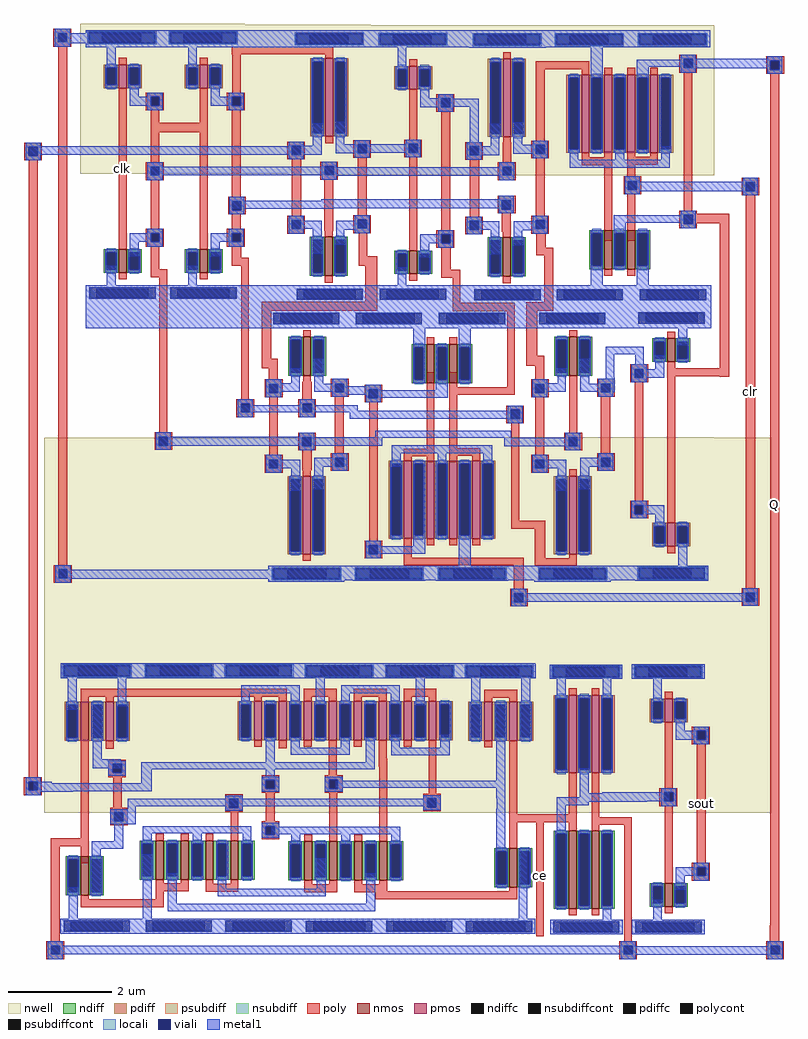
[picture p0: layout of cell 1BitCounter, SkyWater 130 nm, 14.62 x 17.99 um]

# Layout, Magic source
magic
tech sky130A
magscale 1 2
<< nwell >>
rect -36 -794 2763 649
<< poly >>
rect -94 -709 -61 1767
rect 1771 -830 1994 -800
rect 2098 -825 2226 -811
rect -10 -922 114 -892
rect -10 -1339 25 -922
rect 1857 -1269 1887 -830
rect 2073 -841 2226 -825
rect 2196 -1329 2226 -841
rect 2758 -1229 2793 2100
rect 2757 -1336 2793 -1229
<< metal1 >>
rect 2427 2071 2757 2106
rect -90 1738 951 1771
rect -90 1737 10 1738
rect -75 -680 -6 -675
rect -75 -713 75 -680
rect -75 -714 -6 -713
rect 2112 -718 2369 -716
rect 2026 -750 2369 -718
rect 2026 -752 2282 -750
rect -9 -1307 2228 -1305
rect -9 -1339 2793 -1307
rect 2193 -1341 2793 -1339
use dffc  dffc_0 ../dffc
transform 1 0 900 0 1 1174
box -900 -1174 1816 1067
use inverter  inverter_1 ../inverter
transform 1 0 1731 0 1 -1783
box 474 522 794 1585
use nand  nand_1 ../nand
transform 1 0 1889 0 1 -1261
box 0 0 320 1063
use via_m1_p  via_m1_p_0 ../via_m1_p
transform 1 0 -27 0 1 -1357
box 0 0 68 68
use via_m1_p  via_m1_p_1
transform 1 0 2742 0 1 -1357
box 0 0 68 68
use via_m1_p  via_m1_p_2
transform 1 0 2177 0 1 -1357
box 0 0 68 68
use via_m1_p  via_m1_p_3
transform 1 0 -112 0 1 1716
box 0 0 68 68
use via_m1_p  via_m1_p_4
transform 1 0 -113 0 1 -726
box 0 0 68 68
use via_m1_p  via_m1_p_5
transform 1 0 2332 0 1 -768
box 0 0 68 68
use via_m1_p  via_m1_p_13
transform -1 0 2811 0 -1 2117
box 0 0 68 68
use xor  xor_1 ../xor
transform -1 0 1559 0 1 -1272
box -323 13 1551 1078
<< labels >>
rlabel poly 1857 -1269 1887 -800 1 ce
rlabel space 2664 2 2700 1650 1 clr
rlabel space 252 1374 282 1994 1 clk
rlabel space 2758 -1336 2793 2117 1 Q
rlabel space 2474 -1056 2510 -462 1 sout
<< end >>

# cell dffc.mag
magic
tech sky130A
magscale 1 2
<< nwell >>
rect -174 490 112 1064
rect 612 484 754 1062
rect 232 -1100 1330 -524
rect 232 -1102 1126 -1100
<< poly >>
rect -882 -1068 -846 1028
rect -214 950 176 980
rect -212 752 -180 950
rect 956 892 1162 924
rect -526 650 -306 686
rect 828 510 862 612
rect 956 588 990 892
rect 142 272 176 504
rect -526 124 -492 246
rect -214 168 -178 264
rect 274 174 308 314
rect 826 268 860 362
rect -214 136 -148 168
rect 274 136 346 174
rect -526 92 -462 124
rect -492 -564 -462 92
rect -178 -428 -148 136
rect 300 -2 346 136
rect 592 122 628 256
rect 958 206 994 312
rect 1526 300 1700 336
rect 958 176 1024 206
rect 592 90 666 122
rect -98 -36 346 -2
rect 636 -6 666 90
rect 988 -4 1024 176
rect -98 -222 -62 -36
rect 636 -38 876 -6
rect -98 -258 -36 -222
rect -72 -352 -36 -258
rect 58 -426 94 -310
rect 846 -330 876 -38
rect 920 -36 1024 -4
rect 920 -210 962 -36
rect 920 -248 988 -210
rect 654 -332 876 -330
rect 624 -360 876 -332
rect 954 -352 988 -248
rect 1664 -258 1700 300
rect 1462 -288 1700 -258
rect 1664 -290 1700 -288
rect 58 -650 94 -526
rect 862 -844 892 -418
rect 1084 -558 1116 -310
rect 862 -876 992 -844
rect 448 -986 478 -909
rect 448 -1016 910 -986
rect 952 -988 992 -876
rect 952 -1016 1114 -988
rect 872 -1130 910 -1016
rect 956 -1018 1114 -1016
rect 1764 -1164 1800 460
<< metal1 >>
rect -776 1032 1628 1042
rect -884 992 1628 1032
rect -776 978 1628 992
rect 592 748 736 780
rect 272 572 502 604
rect 702 562 736 748
rect -526 516 146 518
rect -526 484 874 516
rect 146 482 874 484
rect 1310 424 1800 460
rect 130 386 872 392
rect -214 358 872 386
rect -214 356 178 358
rect -776 -104 1632 62
rect 1226 -204 1372 -176
rect 1226 -294 1258 -204
rect 1338 -294 1372 -204
rect 184 -344 348 -328
rect 184 -360 346 -344
rect 1226 -348 1260 -294
rect 1226 -350 1258 -348
rect -178 -428 48 -400
rect 60 -422 272 -400
rect 60 -426 894 -422
rect 60 -428 896 -426
rect 240 -452 896 -428
rect -494 -524 92 -522
rect 338 -524 862 -498
rect -494 -526 862 -524
rect -494 -556 366 -526
rect 834 -558 1118 -526
rect -74 -1034 1620 -1018
rect -880 -1068 1620 -1034
rect -74 -1074 1620 -1068
rect 872 -1156 1800 -1124
use inverter  inverter_0 ../inverter
transform 1 0 -152 0 1 -523
box 474 522 794 1585
use inverter  inverter_1 ../inverter
transform -1 0 2114 0 -1 485
box 474 522 794 1585
use inverter  inverter_2 ../inverter
transform 1 0 -958 0 1 -518
box 474 522 794 1585
use inverter  inverter_3 ../inverter
transform 1 0 -1270 0 1 -518
box 474 522 794 1585
use nor  nor_0 ../nor
transform 1 0 1002 0 1 -22
box 0 18 640 1083
use nor  nor_1 ../nor
transform -1 0 872 0 -1 -19
box 0 18 640 1083
use tg  tg_0 ../tg
transform 1 0 686 0 1 -2
box -2 0 320 1063
use tg  tg_1 ../tg
transform 1 0 2 0 1 0
box -2 0 320 1063
use tg  tg_2 ../tg
transform -1 0 1258 0 -1 -39
box -2 0 320 1063
use tg  tg_3 ../tg
transform -1 0 234 0 -1 -39
box -2 0 320 1063
use via_m1_p  via_m1_p_0 ../via_m1_p
transform -1 0 -442 0 -1 -504
box 0 0 68 68
use via_m1_p  via_m1_p_1 ../via_m1_p
transform -1 0 926 0 -1 -1106
box 0 0 68 68
use via_m1_p  via_m1_p_2 ../via_m1_p
transform 1 0 450 0 1 554
box 0 0 68 68
use via_m1_p  via_m1_p_3 ../via_m1_p
transform 1 0 810 0 1 466
box 0 0 68 68
use via_m1_p  via_m1_p_4 ../via_m1_p
transform -1 0 878 0 -1 406
box 0 0 68 68
use via_m1_p  via_m1_p_6 ../via_m1_p
transform 1 0 126 0 1 468
box 0 0 68 68
use via_m1_p  via_m1_p_7 ../via_m1_p
transform -1 0 -160 0 -1 402
box 0 0 68 68
use via_m1_p  via_m1_p_8 ../via_m1_p
transform 1 0 -196 0 1 -446
box 0 0 68 68
use via_m1_p  via_m1_p_9 ../via_m1_p
transform 1 0 842 0 1 -470
box 0 0 68 68
use via_m1_p  via_m1_p_10
transform -1 0 110 0 -1 -506
box 0 0 68 68
use via_m1_p  via_m1_p_11
transform -1 0 1134 0 -1 -506
box 0 0 68 68
use via_m1_p  via_m1_p_12
transform 1 0 42 0 1 -446
box 0 0 68 68
use via_m1_p  via_m1_p_13
transform -1 0 1816 0 -1 476
box 0 0 68 68
use via_m1_p  via_m1_p_14
transform -1 0 1816 0 -1 -1104
box 0 0 68 68
use via_m1_p  via_m1_p_15
transform -1 0 1362 0 -1 480
box 0 0 68 68
use via_m1_p  via_m1_p_16
transform 1 0 -900 0 1 980
box 0 0 68 68
use via_m1_p  via_m1_p_17
transform 1 0 -898 0 1 -1084
box 0 0 68 68
use via_m1_p  via_m1_p_18
transform 1 0 -544 0 1 466
box 0 0 68 68
<< labels >>
rlabel space 18 260 54 614 1 D
rlabel space -648 200 -618 820 1 clk
rlabel space 1764 -1172 1800 476 1 clr
rlabel space 1526 280 1558 948 1 Q
rlabel metal1 -776 978 1628 1042 1 vdd
rlabel metal1 -776 -104 1632 62 1 vss
<< end >>

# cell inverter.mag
magic
tech sky130A
magscale 1 2
<< poly >>
rect 622 728 652 1320
rect 744 746 778 1304
<< metal1 >>
rect 494 1504 776 1560
rect 576 1424 610 1504
rect 664 1304 698 1346
rect 664 1270 746 1304
rect 664 746 746 780
rect 664 692 698 746
rect 576 578 610 654
rect 494 522 776 578
use grid  grid_0 ../grid
transform 1 0 535 0 1 532
box -61 -10 259 1053
use sky130_fd_pr__nfet_01v8_SKHSUU  sky130_fd_pr__nfet_01v8_SKHSUU_0
transform 1 0 637 0 1 673
box -73 -71 73 71
use sky130_fd_pr__pfet_01v8_52DS5B  sky130_fd_pr__pfet_01v8_52DS5B_0
transform 1 0 637 0 1 1383
box -109 -107 109 107
use via_m1_p  via_m1_p_0 ../via_m1_p
transform 1 0 726 0 1 728
box 0 0 68 68
use via_m1_p  via_m1_p_2
transform 1 0 726 0 1 1252
box 0 0 68 68
<< labels >>
rlabel poly 622 728 652 1320 1 in
rlabel metal1 494 1504 776 1560 1 vdd
rlabel metal1 494 522 776 578 1 vss
rlabel space 744 728 778 1320 1 out
<< end >>

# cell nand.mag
magic
tech sky130A
magscale 1 2
<< poly >>
rect 94 422 124 604
rect 182 419 212 601
<< metal1 >>
rect 21 982 300 1037
rect 48 906 82 982
rect 224 915 258 982
rect 136 527 170 638
rect 48 496 170 527
rect 48 393 82 496
rect 224 55 258 106
rect 22 0 301 55
use grid  grid_0 ../grid
transform 1 0 61 0 1 10
box -61 -10 259 1053
use sky130_fd_pr__nfet_01v8_EAKVGK  sky130_fd_pr__nfet_01v8_EAKVGK_0
transform 1 0 109 0 1 248
box -73 -176 73 176
use sky130_fd_pr__nfet_01v8_EAKVGK  sky130_fd_pr__nfet_01v8_EAKVGK_1
transform 1 0 197 0 1 248
box -73 -176 73 176
use sky130_fd_pr__pfet_01v8_52K3FE  sky130_fd_pr__pfet_01v8_52K3FE_0
transform 1 0 109 0 1 770
box -109 -212 109 212
use sky130_fd_pr__pfet_01v8_52K3FE  sky130_fd_pr__pfet_01v8_52K3FE_1
transform 1 0 197 0 1 770
box -109 -212 109 212
<< labels >>
rlabel metal1 21 982 300 1037 1 vdd
rlabel metal1 136 496 170 638 1 Z
rlabel space 94 398 124 620 1 A
rlabel space 182 398 212 620 1 B
rlabel metal1 22 0 301 55 1 vss
<< end >>

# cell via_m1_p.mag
magic
tech sky130A
<< poly >>
rect 0 26 34 34
rect 0 9 9 26
rect 26 9 34 26
rect 0 0 34 9
<< polycont >>
rect 9 9 26 26
<< locali >>
rect 3 26 32 34
rect 3 9 9 26
rect 26 9 32 26
rect 3 0 32 9
<< viali >>
rect 9 9 26 26
<< metal1 >>
rect 3 26 32 34
rect 3 9 9 26
rect 26 9 32 26
rect 3 0 32 9
<< end >>

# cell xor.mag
magic
tech sky130A
magscale 1 2
<< poly >>
rect -225 921 -99 951
rect 85 925 211 955
rect 277 925 403 955
rect 469 925 595 955
rect 661 924 1453 955
rect -225 355 -195 756
rect 85 506 115 757
rect 277 685 307 757
rect 275 655 307 685
rect 275 368 305 655
rect 469 591 499 736
rect 1296 618 1330 666
rect 1295 614 1330 618
rect 467 560 496 588
rect 467 394 497 560
rect 707 404 741 605
rect 467 388 496 394
rect 847 371 877 521
rect 1295 459 1329 614
rect 1423 284 1453 905
rect 1135 206 1165 221
rect 275 176 401 203
rect -225 173 401 176
rect 467 173 593 203
rect 847 175 973 205
rect 1039 176 1165 206
rect -225 146 321 173
rect 1135 145 1165 176
rect 1135 115 1453 145
<< metal1 >>
rect -295 996 1531 1053
rect -275 768 -241 996
rect -179 602 -145 894
rect -83 768 -49 996
rect 131 891 165 996
rect 227 938 452 968
rect 227 895 261 938
rect 419 896 452 938
rect 515 894 549 996
rect 611 955 836 968
rect 611 938 837 955
rect 611 894 645 938
rect 803 893 837 938
rect 1278 888 1312 996
rect 34 728 70 778
rect 226 728 260 778
rect 34 700 260 728
rect 323 673 357 768
rect 419 729 453 769
rect 611 729 645 769
rect 419 701 645 729
rect 707 673 741 769
rect 1373 684 1408 893
rect 1469 874 1503 996
rect 323 645 1220 673
rect 1300 650 1408 684
rect 707 603 741 645
rect -179 600 464 602
rect -179 574 472 600
rect 1180 592 1220 645
rect -179 533 -145 574
rect 1180 560 1535 592
rect -179 493 -146 533
rect 68 503 1273 531
rect -265 70 -231 331
rect -179 329 -145 493
rect 1243 467 1273 503
rect 1290 467 1324 479
rect 1243 433 1334 467
rect 225 396 720 424
rect 797 399 1215 427
rect 225 356 259 396
rect 417 356 451 396
rect 609 356 643 396
rect 797 359 831 399
rect 989 359 1023 399
rect 1181 359 1215 399
rect 1290 369 1324 433
rect 1290 340 1411 369
rect 321 128 355 245
rect 512 185 546 303
rect 893 185 927 230
rect 512 157 927 185
rect 1085 128 1119 245
rect 321 99 1119 128
rect 1181 70 1215 318
rect 1377 173 1411 340
rect 1465 70 1499 192
rect -295 13 1531 70
use grid  grid_0 ../grid
transform 1 0 51 0 1 24
box -61 -10 259 1053
use grid  grid_1 ../grid
transform 1 0 360 0 1 24
box -61 -10 259 1053
use grid  grid_2 ../grid
transform 1 0 669 0 1 25
box -61 -10 259 1053
use grid  grid_3 ../grid
transform 1 0 976 0 1 25
box -61 -10 259 1053
use grid  grid_4 ../grid
transform 1 0 1292 0 1 25
box -61 -10 259 1053
use grid  grid_5 ../grid
transform 1 0 -256 0 1 23
box -61 -10 259 1053
use sky130_fd_pr__nfet_01v8_4AWVGD  sky130_fd_pr__nfet_01v8_4AWVGD_0
transform 1 0 434 0 1 293
box -221 -101 221 101
use sky130_fd_pr__nfet_01v8_4AWVGD  sky130_fd_pr__nfet_01v8_4AWVGD_1
transform 1 0 1006 0 1 296
box -221 -101 221 101
use sky130_fd_pr__nfet_01v8_NDWVGB  sky130_fd_pr__nfet_01v8_NDWVGB_0
transform 1 0 1438 0 1 236
box -73 -101 73 101
use sky130_fd_pr__nfet_01v8_NDWVGB  sky130_fd_pr__nfet_01v8_NDWVGB_1
transform 1 0 -210 0 1 266
box -73 -101 73 101
use sky130_fd_pr__pfet_01v8_52C9FB  sky130_fd_pr__pfet_01v8_52C9FB_0
transform 1 0 1390 0 1 830
box -161 -175 161 175
use sky130_fd_pr__pfet_01v8_52C9FB  sky130_fd_pr__pfet_01v8_52C9FB_1
transform 1 0 -162 0 1 831
box -161 -175 161 175
use sky130_fd_pr__pfet_01v8_52LH9B  sky130_fd_pr__pfet_01v8_52LH9B_0
transform 1 0 436 0 1 832
box -449 -175 449 175
use via_m1_p  via_m1_p_0 ../via_m1_p
transform 0 1 446 -1 0 623
box 0 0 68 68
use via_m1_p  via_m1_p_1 ../via_m1_p
transform 0 1 830 -1 0 550
box 0 0 68 68
use via_m1_p  via_m1_p_2 ../via_m1_p
transform 0 1 68 -1 0 552
box 0 0 68 68
use via_m1_p  via_m1_p_3 ../via_m1_p
transform 0 1 690 -1 0 445
box 0 0 68 68
use via_m1_p  via_m1_p_4 ../via_m1_p
transform 0 1 689 -1 0 623
box 0 0 68 68
use via_m1_p  via_m1_p_5 ../via_m1_p
transform 0 -1 1348 1 0 614
box 0 0 68 68
use via_m1_p  via_m1_p_6 ../via_m1_p
transform 0 1 1272 -1 0 497
box 0 0 68 68
<< labels >>
rlabel space -225 341 -195 756 1 A
rlabel space 1423 284 1453 955 1 B
rlabel metal1 -295 996 1531 1053 1 vdd
rlabel metal1 -295 13 1531 70 1 GND
rlabel space 1180 556 1535 592 1 Z
<< end >>

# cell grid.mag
magic
tech sky130A
magscale 1 2
<< nwell >>
rect -61 476 259 1053
<< psubdiff >>
rect -24 0 0 34
rect 200 0 224 34
<< nsubdiff >>
rect -25 1016 223 1017
rect -25 982 24 1016
rect 171 982 223 1016
rect -25 981 223 982
<< psubdiffcont >>
rect 0 0 200 34
<< nsubdiffcont >>
rect 24 982 171 1016
<< locali >>
rect -34 1021 232 1024
rect -34 978 -28 1021
rect 227 978 232 1021
rect -34 974 232 978
<< viali >>
rect -28 1016 227 1021
rect -28 982 24 1016
rect 24 982 171 1016
rect 171 982 227 1016
rect -28 978 227 982
rect -27 34 228 39
rect -27 0 0 34
rect 0 0 200 34
rect 200 0 228 34
rect -27 -4 228 0
<< metal1 >>
rect -40 1021 239 1027
rect -40 978 -28 1021
rect 227 978 239 1021
rect -40 972 239 978
rect -39 39 240 45
rect -39 -4 -27 39
rect 228 -4 240 39
rect -39 -10 240 -4
<< end >>

# cell sky130_fd_pr__nfet_01v8_4AWVGD: kit device sky130_fd_pr__nfet_01v8, w 0.75 l 0.150 m 1 nf 4 diffcov 100 polycov 100 guard 0 glc 0 grc 0 gtc 0 gbc 0 tbcov 100 rlcov 100 topc 0 botc 0 poverlap 0 doverlap 1 lmin 0.15 wmin 0.42 compatible {sky130_fd_pr__nfet_01v8 sky130_fd_pr__nfet_01v8_lvt sky130_fd_bs_flash__special_sonosfet_star sky130_fd_pr__nfet_g5v0d10v5 sky130_fd_pr__nfet_05v0_nvt sky130_fd_pr__nfet_03v3_nvt} full_metal 0 viasrc 100 viadrn 100 viagate 100 viagb 0 viagr 0 viagl 0 viagt 0

# cell sky130_fd_pr__nfet_01v8_NDWVGB: kit device sky130_fd_pr__nfet_01v8, w 0.75 l 0.150 m 1 nf 1 diffcov 100 polycov 100 guard 0 glc 0 grc 0 gtc 0 gbc 0 tbcov 100 rlcov 100 topc 0 botc 0 poverlap 0 doverlap 1 lmin 0.15 wmin 0.42 compatible {sky130_fd_pr__nfet_01v8 sky130_fd_pr__nfet_01v8_lvt sky130_fd_bs_flash__special_sonosfet_star sky130_fd_pr__nfet_g5v0d10v5 sky130_fd_pr__nfet_05v0_nvt sky130_fd_pr__nfet_03v3_nvt} full_metal 0 viasrc 100 viadrn 100 viagate 100 viagb 0 viagr 0 viagl 0 viagt 0

# cell sky130_fd_pr__pfet_01v8_52C9FB: kit device sky130_fd_pr__pfet_01v8, w 0.75 l 0.15 m 1 nf 2 diffcov 100 polycov 100 guard 0 glc 0 grc 0 gtc 0 gbc 0 tbcov 100 rlcov 100 topc 0 botc 0 poverlap 0 doverlap 1 lmin 0.15 wmin 0.42 compatible {sky130_fd_pr__pfet_01v8 sky130_fd_pr__pfet_01v8_lvt sky130_fd_pr__pfet_01v8_hvt sky130_fd_pr__pfet_g5v0d10v5} full_metal 0 viasrc 100 viadrn 100 viagate 100 viagb 0 viagr 0 viagl 0 viagt 0

# cell sky130_fd_pr__pfet_01v8_52LH9B: kit device sky130_fd_pr__pfet_01v8, w 0.75 l 0.15 m 1 nf 8 diffcov 100 polycov 100 guard 0 glc 0 grc 0 gtc 0 gbc 0 tbcov 100 rlcov 100 topc 0 botc 0 poverlap 0 doverlap 1 lmin 0.15 wmin 0.42 compatible {sky130_fd_pr__pfet_01v8 sky130_fd_pr__pfet_01v8_lvt sky130_fd_pr__pfet_01v8_hvt sky130_fd_pr__pfet_g5v0d10v5} full_metal 0 viasrc 100 viadrn 100 viagate 100 viagb 0 viagr 0 viagl 0 viagt 0

# cell sky130_fd_pr__nfet_01v8_EAKVGK: kit device sky130_fd_pr__nfet_01v8, w 1.5 l 0.150 m 1 nf 1 diffcov 100 polycov 100 guard 0 glc 0 grc 0 gtc 0 gbc 0 tbcov 100 rlcov 100 topc 0 botc 0 poverlap 0 doverlap 1 lmin 0.15 wmin 0.42 compatible {sky130_fd_pr__nfet_01v8 sky130_fd_pr__nfet_01v8_lvt sky130_fd_bs_flash__special_sonosfet_star sky130_fd_pr__nfet_g5v0d10v5 sky130_fd_pr__nfet_05v0_nvt sky130_fd_pr__nfet_03v3_nvt} full_metal 0 viasrc 100 viadrn 100 viagate 100 viagb 0 viagr 0 viagl 0 viagt 0

# cell sky130_fd_pr__pfet_01v8_52K3FE: kit device sky130_fd_pr__pfet_01v8, w 1.5 l 0.15 m 1 nf 1 diffcov 100 polycov 100 guard 0 glc 0 grc 0 gtc 0 gbc 0 tbcov 100 rlcov 100 topc 0 botc 0 poverlap 0 doverlap 1 lmin 0.15 wmin 0.42 compatible {sky130_fd_pr__pfet_01v8 sky130_fd_pr__pfet_01v8_lvt sky130_fd_pr__pfet_01v8_hvt sky130_fd_pr__pfet_g5v0d10v5} full_metal 0 viasrc 100 viadrn 100 viagate 100 viagb 0 viagr 0 viagl 0 viagt 0

# cell sky130_fd_pr__nfet_01v8_SKHSUU: kit device sky130_fd_pr__nfet_01v8, w 0.450 l 0.150 m 1 nf 1 diffcov 100 polycov 100 guard 0 glc 0 grc 0 gtc 0 gbc 0 tbcov 100 rlcov 100 topc 0 botc 0 poverlap 0 doverlap 1 lmin 0.15 wmin 0.42 compatible {sky130_fd_pr__nfet_01v8 sky130_fd_pr__nfet_01v8_lvt sky130_fd_bs_flash__special_sonosfet_star sky130_fd_pr__nfet_g5v0d10v5 sky130_fd_pr__nfet_05v0_nvt sky130_fd_pr__nfet_03v3_nvt} full_metal 0 viasrc 100 viadrn 100 viagate 100 viagb 0 viagr 0 viagl 0 viagt 0

# cell sky130_fd_pr__pfet_01v8_52DS5B: kit device sky130_fd_pr__pfet_01v8, w 0.45 l 0.15 m 1 nf 1 diffcov 100 polycov 100 guard 0 glc 0 grc 0 gtc 0 gbc 0 tbcov 100 rlcov 100 topc 0 botc 0 poverlap 0 doverlap 1 lmin 0.15 wmin 0.42 compatible {sky130_fd_pr__pfet_01v8 sky130_fd_pr__pfet_01v8_lvt sky130_fd_pr__pfet_01v8_hvt sky130_fd_pr__pfet_g5v0d10v5} full_metal 0 viasrc 100 viadrn 100 viagate 100 viagb 0 viagr 0 viagl 0 viagt 0

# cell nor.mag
magic
tech sky130A
magscale 1 2
<< poly >>
rect 218 576 248 600
rect 130 546 248 576
rect 218 254 248 546
rect 306 578 336 600
rect 306 548 424 578
rect 306 254 336 548
rect 524 320 556 954
<< metal1 >>
rect 28 1008 184 1056
rect 212 1008 624 1054
rect 28 1004 624 1008
rect 166 1002 624 1004
rect 166 886 212 1002
rect 342 924 556 952
rect 342 890 388 924
rect 84 566 118 600
rect 260 566 294 594
rect 436 566 470 618
rect 84 536 470 566
rect 254 324 554 352
rect 254 296 300 324
rect 166 74 212 148
rect 342 74 388 148
rect 22 54 620 74
rect 22 50 350 54
rect 22 18 174 50
rect 208 18 350 50
rect 384 18 620 54
use grid  grid_0 ../grid
transform 1 0 381 0 1 30
box -61 -10 259 1053
use grid  grid_1 ../grid
transform 1 0 61 0 1 30
box -61 -10 259 1053
use sky130_fd_pr__nfet_01v8_NDWVGB  sky130_fd_pr__nfet_01v8_NDWVGB_1
transform 1 0 233 0 1 221
box -73 -101 73 101
use sky130_fd_pr__nfet_01v8_NDWVGB  sky130_fd_pr__nfet_01v8_NDWVGB_2
transform 1 0 321 0 1 221
box -73 -101 73 101
use sky130_fd_pr__pfet_01v8_52K3FE  sky130_fd_pr__pfet_01v8_52K3FE_0
transform 1 0 409 0 1 744
box -109 -212 109 212
use sky130_fd_pr__pfet_01v8_52K3FE  sky130_fd_pr__pfet_01v8_52K3FE_1
transform 1 0 321 0 1 744
box -109 -212 109 212
use sky130_fd_pr__pfet_01v8_52K3FE  sky130_fd_pr__pfet_01v8_52K3FE_2
transform 1 0 233 0 1 744
box -109 -212 109 212
use sky130_fd_pr__pfet_01v8_52K3FE  sky130_fd_pr__pfet_01v8_52K3FE_3
transform 1 0 145 0 1 744
box -109 -212 109 212
use via_m1_p  via_m1_p_0 ../via_m1_p
transform 1 0 506 0 1 902
box 0 0 68 68
use via_m1_p  via_m1_p_1 ../via_m1_p
transform 1 0 506 0 1 302
box 0 0 68 68
<< labels >>
rlabel space 22 1002 622 1054 1 vdd
rlabel space 20 18 620 80 1 vss
rlabel poly 218 254 248 600 1 B
rlabel poly 306 254 336 600 1 A
rlabel space 524 302 556 970 1 Z
<< end >>

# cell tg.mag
magic
tech sky130A
magscale 1 2
<< poly >>
rect 16 278 52 598
rect 270 278 304 604
<< metal1 >>
rect 14 978 308 1040
rect 96 598 130 684
rect 16 564 130 598
rect 184 604 218 690
rect 184 570 304 604
rect 16 278 130 310
rect 96 182 130 278
rect 186 276 306 310
rect 186 218 218 276
rect 22 0 302 56
use grid  grid_0 ../grid
transform 1 0 61 0 1 10
box -61 -10 259 1053
use sky130_fd_pr__nfet_01v8_NDWVGB  sky130_fd_pr__nfet_01v8_NDWVGB_0
transform 1 0 158 0 1 173
box -73 -101 73 101
use sky130_fd_pr__pfet_01v8_ZB94FE  sky130_fd_pr__pfet_01v8_ZB94FE_0
transform 1 0 159 0 1 784
box -109 -212 109 212
use via_m1_p  via_m1_p_0 ../via_m1_p
transform 1 0 252 0 1 262
box 0 0 68 68
use via_m1_p  via_m1_p_1 ../via_m1_p
transform 1 0 -2 0 1 546
box 0 0 68 68
use via_m1_p  via_m1_p_2 ../via_m1_p
transform 1 0 252 0 1 552
box 0 0 68 68
use via_m1_p  via_m1_p_3 ../via_m1_p
transform 1 0 -2 0 1 260
box 0 0 68 68
<< labels >>
rlabel space 143 937 173 963 1 enb
rlabel space 143 248 173 274 1 en
rlabel metal1 14 978 308 1040 1 vdd
rlabel metal1 22 0 302 56 1 vss
rlabel poly 270 278 304 604 1 vout
rlabel space 16 260 52 614 1 vin
<< end >>

# cell sky130_fd_pr__pfet_01v8_ZB94FE: kit device sky130_fd_pr__pfet_01v8, w 1.5 l 0.15 m 1 nf 1 diffcov 100 polycov 100 guard 0 glc 0 grc 0 gtc 1 gbc 0 tbcov 100 rlcov 100 topc 0 botc 0 poverlap 0 doverlap 1 lmin 0.15 wmin 0.42 compatible {sky130_fd_pr__pfet_01v8 sky130_fd_pr__pfet_01v8_lvt sky130_fd_pr__pfet_01v8_hvt sky130_fd_pr__pfet_g5v0d10v5} full_metal 0 viasrc 100 viadrn 100 viagate 100 viagb 0 viagr 0 viagl 0 viagt 0
